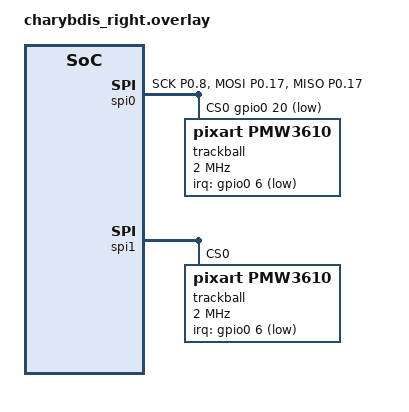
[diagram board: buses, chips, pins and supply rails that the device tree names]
/*
 * Copyright (c) 2020 ZMK Contributors
 *
 * SPDX-License-Identifier: MIT
 */
 
#include "charybdis.dtsi"

#include <dt-bindings/input/input-event-codes.h>
#include <input/processors.dtsi>


&default_transform {
    col-offset = <6>;
}; 

&kscan0 {
	col-gpios
		= <&gpio0 2 (GPIO_ACTIVE_HIGH | GPIO_PULL_DOWN)>
		, <&gpio0 29 (GPIO_ACTIVE_HIGH | GPIO_PULL_DOWN)>
		, <&gpio0 9 (GPIO_ACTIVE_HIGH | GPIO_PULL_DOWN)>
		, <&gpio1 0  (GPIO_ACTIVE_HIGH | GPIO_PULL_DOWN)>
		, <&gpio0 11 (GPIO_ACTIVE_HIGH | GPIO_PULL_DOWN)>
		, <&gpio1 4  (GPIO_ACTIVE_HIGH | GPIO_PULL_DOWN)>
		;
};

// trackball bus
&pinctrl {
    spi0_default: spi0_default {
        group1 {
            psels = <NRF_PSEL(SPIM_SCK, 0, 8)>,
                <NRF_PSEL(SPIM_MOSI, 0, 17)>,
                <NRF_PSEL(SPIM_MISO, 0, 17)>;
        };
    };

    spi0_sleep: spi0_sleep {
        group1 {
            psels = <NRF_PSEL(SPIM_SCK, 0, 8)>,
                <NRF_PSEL(SPIM_MOSI, 0, 17)>,
                <NRF_PSEL(SPIM_MISO, 0, 17)>;
            low-power-enable;
        };
    };
};

&spi0 {
    status = "okay";
    compatible = "nordic,nrf-spim";
    pinctrl-0 = <&spi0_default>;
    pinctrl-1 = <&spi0_sleep>;
    pinctrl-names = "default", "sleep";
    cs-gpios = <&gpio0 20 GPIO_ACTIVE_LOW>;

    trackball: trackball@0 {
        status = "okay";
        compatible = "pixart,pmw3610";
        reg = <0>;
        spi-max-frequency = <2000000>;
        irq-gpios = <&gpio0 6 (GPIO_ACTIVE_LOW | GPIO_PULL_UP)>;
        scroll-layers = <1>;
        snipe-layers = <2>;
      // automouse-layer = <3>;
    };
};


//RGB bus



/*
/ {
    trackball_listener {
        compatible = "zmk,input-listener";
        device = <&trackball>;
    };
};
*/

/* Trackball 设备配置 */
&spi1 {
    status = "okay";
    trackball: trackball@0 {
        compatible = "pixart,pmw3610";
        reg = <0>;
        spi-max-frequency = <2000000>;
        irq-gpios = <&gpio0 6 (GPIO_ACTIVE_LOW | GPIO_PULL_UP)>;
        cpi = <600>;
        evt-type = <INPUT_EV_REL>;
        x-input-code = <INPUT_REL_X>;
        y-input-code = <INPUT_REL_Y>;
    };
};

/* 输入监听器：默认滚动，Layer3 音量 */
&trackball_listener {
    compatible = "zmk,input-listener";
    device = <&trackball>;
    input-processors = <&zip_xy_to_scroll_mapper>;  /* 默认将 XY 映射为滚动 */

    /* Layer3 时使用的覆盖：垂直滚动映射为音量键 */
    vol_layer {
        layers = <3>;
        input-processors = <&zip_scroll_scaler 1 1 &zip_button_behaviors>;
    };
};

/* 自定义行为：音量增减 */
behaviors {
    kp_vol_up: vol_up {
        compatible = "zmk,behavior-key-press";
        #binding-cells = <1>;
        label = "VOLUME UP";
    };
    kp_vol_down: vol_down {
        compatible = "zmk,behavior-key-press";
        #binding-cells = <1>;
        label = "VOLUME DOWN";
    };
};
